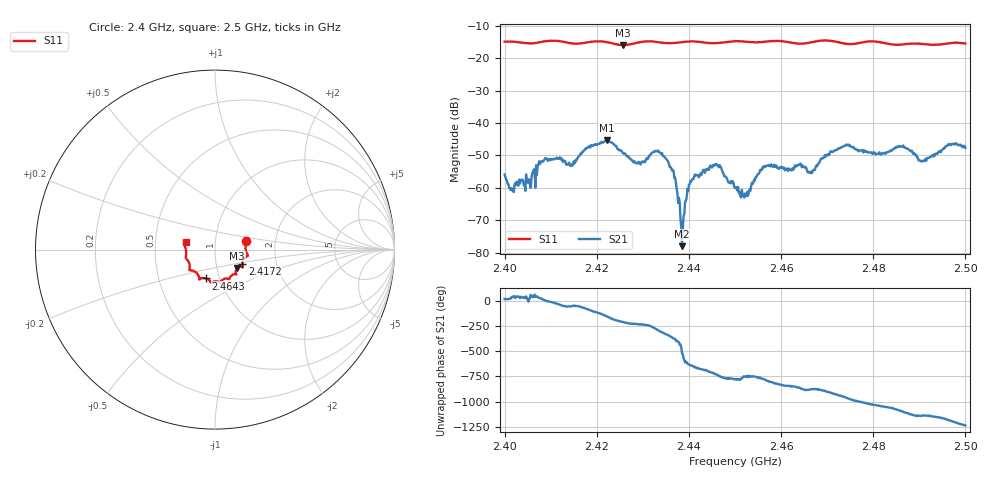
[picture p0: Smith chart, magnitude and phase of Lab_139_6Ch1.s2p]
# Hz S RI R 50
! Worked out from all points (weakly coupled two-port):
!   601 points, 2.4 GHz to 2.5 GHz, reference 50 ohm
!   highest |S21| = -45.38 dB at 2.4222 GHz (marker M1); lowest = -78.0 dB at 2.4385 GHz (marker M2)
!   lowest |S11| = -15.9 dB at 2.4257 GHz (marker M3), VSWR 1.38, Z = 62.4 - j13.1 ohm
!   |S11| at or under -10 dB: start of sweep to end of sweep
!   S12 and S22 are empty: the file has one direction only
!   S11 on the Smith chart (normalised r, x): 2.4 GHz: 1.41, +0.14; 2.4172 GHz: 1.34, -0.22; 2.4643 GHz: 0.86, -0.28; 2.5 GHz: 0.72, +0.06
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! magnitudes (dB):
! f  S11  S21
! 2.4 GHz  -14.9  -55.9
! 2.4015 GHz  -14.8  -60.1
! 2.4085 GHz  -14.8  -51.6
! 2.4167 GHz  -15.4  -49.5
! 2.4172 GHz  -15.3  -48.5
! 2.4222 GHz  -15.0  -45.4
! 2.4257 GHz  -15.9  -49.3
! 2.429 GHz  -15.1  -52.0
! 2.4333 GHz  -15.0  -48.5
! 2.4367 GHz  -15.3  -54.8
! 2.4385 GHz  -15.0  -78.0
! 2.4413 GHz  -14.8  -55.9
! 2.4463 GHz  -15.3  -53.3
! 2.45 GHz  -14.7  -60.0
! 2.4523 GHz  -14.9  -62.1
! 2.4565 GHz  -14.9  -53.6
! 2.4643 GHz  -15.5  -52.8
! 2.4667 GHz  -15.0  -55.5
! 2.4742 GHz  -15.6  -46.6
! 2.4833 GHz  -15.6  -48.9
! 2.4907 GHz  -15.6  -51.9
! 2.5 GHz  -15.4  -47.7
